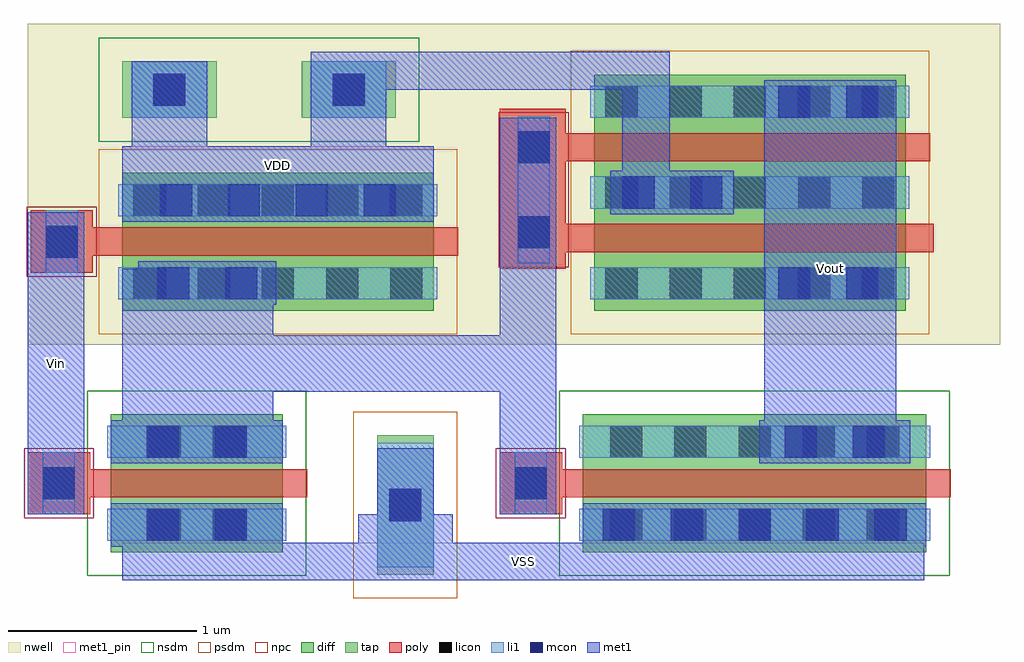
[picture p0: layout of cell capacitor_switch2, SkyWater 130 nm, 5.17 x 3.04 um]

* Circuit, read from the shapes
.subckt capacitor_switch2 VDD VSS Vin Vout
XM1 n1 Vin VSS VSS sky130_fd_pr__nfet_01v8 w=0.91 l=0.15
XM2 Vout n1 VSS VSS sky130_fd_pr__nfet_01v8 w=1.82 l=0.15
XM3 VDD Vin n1 VDD sky130_fd_pr__pfet_01v8 w=1.65 l=0.15
XM4 VDD n1 Vout VDD sky130_fd_pr__pfet_01v8 w=1.65 l=0.15 m=2
.ends

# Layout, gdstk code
from math import pi, radians
import gdstk
lib = gdstk.Library(unit=1e-6, precision=1e-09)
def R(c, l, rs):  # rectangles x0, y0, x1, y1
    for r in rs: c.add(gdstk.rectangle(r[:2], r[2:], *l))
def A(c, l, x, y, w, h, nx, ny, dx, dy):  # array of equal rectangles
    R(c, l, [(x+i*dx, y+j*dy, x+i*dx+w, y+j*dy+h) for i in range(nx) for j in range(ny)])
nwell = (64, 20)
diff = (65, 20)
tap = (65, 44)
poly = (66, 20)
licon = (66, 44)
li1 = (67, 20)
mcon = (67, 44)
met1_pin = (68, 16)
met1 = (68, 20)
nsdm = (93, 44)
psdm = (94, 20)
npc = (95, 20)

sky130_fd_pr__nfet_01v8_ = lib.new_cell('sky130_fd_pr__nfet_01v8_9CME3F')
R(sky130_fd_pr__nfet_01v8_, diff, [(-0.365,-0.61,0.365,0.3)])
R(sky130_fd_pr__nfet_01v8_, poly, [(-0.075,-0.74,0.075,0.41), (-0.165,0.41,0.165,0.74)])
R(sky130_fd_pr__nfet_01v8_, licon, [(-0.305,-0.41,-0.135,-0.24), (0.135,-0.41,0.305,-0.24), (-0.305,-0.07,-0.135,0.1), (0.135,-0.07,0.305,0.1), (-0.085,0.49,0.085,0.66)])
R(sky130_fd_pr__nfet_01v8_, li1, [(-0.305,-0.63,-0.135,0.32), (0.135,-0.63,0.305,0.32), (-0.165,0.49,0.165,0.66)])
R(sky130_fd_pr__nfet_01v8_, mcon, [(-0.305,-0.42,-0.135,-0.25), (0.135,-0.42,0.305,-0.25), (-0.305,-0.06,-0.135,0.11), (0.135,-0.06,0.305,0.11), (-0.085,0.49,0.085,0.66)])
R(sky130_fd_pr__nfet_01v8_, met1, [(-0.335,-0.61,-0.105,0.3), (0.105,-0.61,0.335,0.3), (-0.145,0.46,0.145,0.69)])
R(sky130_fd_pr__nfet_01v8_, nsdm, [(-0.49,-0.735,0.49,0.425)])
R(sky130_fd_pr__nfet_01v8_, npc, [(-0.185,0.39,0.185,0.76)])

sky130_fd_pr__pfet_01v8_ = lib.new_cell('sky130_fd_pr__pfet_01v8_S6MTYS')
R(sky130_fd_pr__pfet_01v8_, nwell, [(-0.805,-1.325,0.325,-1.135), (-0.805,-1.135,0.805,0.975), (-0.805,0.975,-0.455,1.135), (-0.405,0.975,-0.005,1.325), (0.045,0.975,0.805,1.325)])
R(sky130_fd_pr__pfet_01v8_, diff, [(-0.625,-0.825,0.625,0.825)])
R(sky130_fd_pr__pfet_01v8_, poly, [(-0.315,-0.975,-0.165,0.975), (0.165,-0.955,0.315,0.975), (-0.405,0.975,0.445,1.325)])
A(sky130_fd_pr__pfet_01v8_, licon, -0.565, -0.765, 0.17, 0.17, 3, 5, 0.48, 0.34)
R(sky130_fd_pr__pfet_01v8_, licon, [(-0.295,1.06,-0.125,1.23), (0.155,1.06,0.325,1.23)])
A(sky130_fd_pr__pfet_01v8_, li1, -0.565, -0.845, 0.17, 1.69, 3, 1, 0.48, 0)
R(sky130_fd_pr__pfet_01v8_, li1, [(-0.375,1.06,0.405,1.23)])
R(sky130_fd_pr__pfet_01v8_, mcon, [(-0.565,-0.68,-0.395,-0.51), (0.395,-0.68,0.565,-0.51), (-0.565,-0.32,-0.395,-0.15), (0.395,-0.32,0.565,-0.15), (-0.085,0.145,0.085,0.315), (-0.085,0.505,0.085,0.675), (-0.295,1.06,-0.125,1.23), (0.155,1.06,0.325,1.23)])
R(sky130_fd_pr__pfet_01v8_, met1, [(-0.595,-0.74,-0.365,-0.085), (0.365,-0.74,0.595,-0.085), (-0.115,0.085,0.115,0.74), (-0.405,1.025,-0.055,1.325), (0.095,1.03,0.385,1.26)])
R(sky130_fd_pr__pfet_01v8_, psdm, [(-0.75,-0.95,0.75,0.95)])
R(sky130_fd_pr__pfet_01v8_, npc, [(-0.395,0.96,0.425,1.33)])

c_sky130_fd_pr__pfet_01v8_ = lib.new_cell('sky130_fd_pr__pfet_01v8_5AWN3K')
R(c_sky130_fd_pr__pfet_01v8_, nwell, [(-0.545,-1.315,0.545,1.145)])
R(c_sky130_fd_pr__pfet_01v8_, diff, [(-0.365,-1.005,0.365,0.645)])
R(c_sky130_fd_pr__pfet_01v8_, poly, [(-0.075,-1.135,0.075,0.8), (-0.165,0.8,0.165,1.13)])
A(c_sky130_fd_pr__pfet_01v8_, licon, -0.305, -0.945, 0.17, 0.17, 1, 5, 0, 0.34)
A(c_sky130_fd_pr__pfet_01v8_, licon, 0.135, -0.945, 0.17, 0.17, 1, 5, 0, 0.34)
R(c_sky130_fd_pr__pfet_01v8_, licon, [(-0.085,0.88,0.085,1.05)])
R(c_sky130_fd_pr__pfet_01v8_, li1, [(-0.305,-1.025,-0.135,0.665), (0.135,-1.025,0.305,0.665), (-0.165,0.88,0.165,1.05)])
A(c_sky130_fd_pr__pfet_01v8_, mcon, 0.135, -0.805, 0.17, 0.17, 1, 4, 0, 0.36)
R(c_sky130_fd_pr__pfet_01v8_, mcon, [(-0.305,-0.07,-0.135,0.1), (-0.305,0.29,-0.135,0.46), (-0.085,0.88,0.085,1.05)])
R(c_sky130_fd_pr__pfet_01v8_, met1, [(0.105,-1.005,0.335,0.645), (-0.335,-0.17,-0.105,0.56), (-0.145,0.85,0.145,1.08)])
R(c_sky130_fd_pr__pfet_01v8_, psdm, [(-0.49,-1.13,0.49,0.77)])
R(c_sky130_fd_pr__pfet_01v8_, npc, [(-0.185,0.78,0.185,1.15)])

c_sky130_fd_pr__nfet_01v8_ = lib.new_cell('sky130_fd_pr__nfet_01v8_Z2KCLS')
R(c_sky130_fd_pr__nfet_01v8_, diff, [(-0.365,-1.065,0.365,0.755)])
R(c_sky130_fd_pr__nfet_01v8_, poly, [(-0.075,-1.195,0.075,0.865), (-0.165,0.865,0.165,1.195)])
A(c_sky130_fd_pr__nfet_01v8_, licon, -0.305, -0.92, 0.17, 0.17, 1, 5, 0, 0.34)
A(c_sky130_fd_pr__nfet_01v8_, licon, 0.135, -0.92, 0.17, 0.17, 1, 5, 0, 0.34)
R(c_sky130_fd_pr__nfet_01v8_, licon, [(-0.085,0.945,0.085,1.115)])
R(c_sky130_fd_pr__nfet_01v8_, li1, [(-0.305,-1.085,-0.135,0.775), (0.135,-1.085,0.305,0.775), (-0.165,0.945,0.165,1.115)])
A(c_sky130_fd_pr__nfet_01v8_, mcon, -0.305, -0.96, 0.17, 0.17, 1, 5, 0, 0.36)
R(c_sky130_fd_pr__nfet_01v8_, mcon, [(0.135,-0.845,0.305,-0.675), (0.135,-0.485,0.305,-0.315), (-0.085,0.945,0.085,1.115)])
R(c_sky130_fd_pr__nfet_01v8_, met1, [(-0.335,-1.065,-0.105,0.755), (0.105,-0.98,0.335,-0.18), (-0.145,0.915,0.145,1.145)])
R(c_sky130_fd_pr__nfet_01v8_, nsdm, [(-0.49,-1.19,0.49,0.88)])
R(c_sky130_fd_pr__nfet_01v8_, npc, [(-0.185,0.845,0.185,1.215)])

capacitor_switch2 = lib.new_cell('capacitor_switch2')
R(capacitor_switch2, nwell, [(-1.5,4.5,1.2,4.55), (-1.5,4.55,3.65,6.2)])
R(capacitor_switch2, tap, [(0.35,3.28,0.65,4.02), (-1,5.7,-0.5,6), (-0.05,5.7,0.45,6)])
R(capacitor_switch2, licon, [(0.415,3.565,0.585,3.735), (-0.835,5.765,-0.665,5.935), (0.115,5.765,0.285,5.935)])
R(capacitor_switch2, li1, [(0.35,3.32,0.65,3.98), (-0.95,5.7,-0.55,6), (0,5.7,0.4,6)])
R(capacitor_switch2, mcon, [(0.415,3.565,0.585,3.735), (-0.835,5.765,-0.665,5.935), (0.115,5.765,0.285,5.935)])
R(capacitor_switch2, met1_pin, [(-1,3.25,3.25,3.45), (-1.5,3.6,-1.2,5.2), (2.4,3.9,3.1,5.9), (-1,5.35,0.65,5.55)])
R(capacitor_switch2, met1, [(-1,3.25,3.25,3.45), (0.25,3.45,0.75,3.6), (-1.5,3.6,-1.2,5.2), (0.35,3.6,0.65,3.95), (1,3.6,1.3,4.25), (-1,3.9,-0.2,4.25), (2.4,3.9,3.1,5.9), (-1,4.25,1.3,4.55), (-1,4.55,-0.2,4.9), (1,4.55,1.3,5.7), (1.65,5.2,1.9,5.85), (-1,5.35,0.65,5.55), (-0.95,5.55,-0.55,6), (0,5.55,0.4,5.85), (0,5.85,1.9,6.05)])
R(capacitor_switch2, nsdm, [(-1.125,5.575,0.575,6.125)])
R(capacitor_switch2, psdm, [(0.225,3.155,0.775,4.145)])
capacitor_switch2.add(gdstk.Reference(sky130_fd_pr__nfet_01v8_, (-0.76,3.765), rotation=pi/2))
capacitor_switch2.add(gdstk.Reference(sky130_fd_pr__pfet_01v8_, (2.325,5.305), rotation=pi/2))
capacitor_switch2.add(gdstk.Reference(c_sky130_fd_pr__pfet_01v8_, (-0.355,5.045), rotation=pi/2))
capacitor_switch2.add(gdstk.Reference(c_sky130_fd_pr__nfet_01v8_, (2.195,3.765), rotation=pi/2))
capacitor_switch2.add(gdstk.Label('VDD', (-0.175,5.45), layer=68, texttype=16))
capacitor_switch2.add(gdstk.Label('Vin', (-1.35,4.4), layer=68, texttype=16))
capacitor_switch2.add(gdstk.Label('Vout', (2.75,4.9), layer=68, texttype=16))
capacitor_switch2.add(gdstk.Label('VSS', (1.125,3.35), layer=68, texttype=16))

lib.write_gds('capacitor_switch2.gds')
